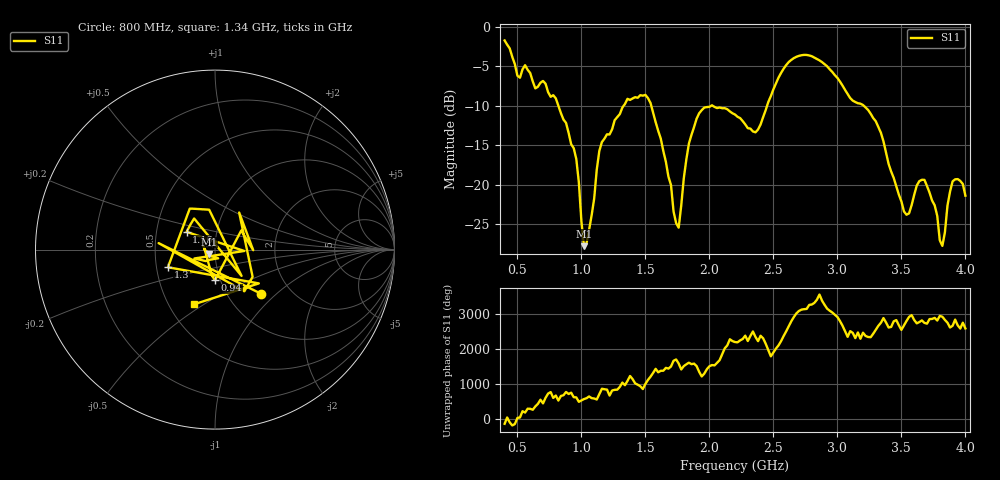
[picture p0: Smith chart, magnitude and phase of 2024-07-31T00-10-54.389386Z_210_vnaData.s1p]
!Created with skrf (http://scikit-rf.org).
# Hz S RI R 50.0
!freq ReS11 ImS11
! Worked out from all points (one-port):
!   181 points, 400 MHz to 4 GHz, reference 50 ohm
!   lowest |S11| = -27.8 dB at 1.02 GHz (marker M1), VSWR 1.08, Z = 46.8 - j2.23 ohm
!   |S11| at or under -10 dB: 820.1 MHz to 1.33 GHz (509.6 MHz wide, 47.4 % of centre); 1.546 GHz to 2.013 GHz (467 MHz wide, 26.2 % of centre); 3.207 GHz to end of sweep (the widest 3 of 4)
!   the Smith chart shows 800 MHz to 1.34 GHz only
!   S11 on the Smith chart (normalised r, x): 800 MHz: 1.42, -0.79; 940 MHz: 0.94, -0.33; 1.16 GHz: 0.71, +0.15; 1.3 GHz: 0.57, -0.12; 1.34 GHz: 0.67, -0.46
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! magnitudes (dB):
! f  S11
! 400 MHz  -1.7
! 500 MHz  -6.2
! 560 MHz  -4.8
! 800 MHz  -9.0
! 860 MHz  -11.7
! 940 MHz  -15.4
! 980 MHz  -19.7
! 1.02 GHz  -27.8
! 1.08 GHz  -23.9
! 1.16 GHz  -14.6
! 1.3 GHz  -11.0
! 1.34 GHz  -9.8
! 1.54 GHz  -9.6
! 1.76 GHz  -25.5
! 1.84 GHz  -14.8
! 1.92 GHz  -10.9
! 2.2 GHz  -11.1
! 2.36 GHz  -13.4
! 2.66 GHz  -3.9
! 2.88 GHz  -4.5
! 3.1 GHz  -9.0
! 3.3 GHz  -12.0
! 3.56 GHz  -23.6
! 3.68 GHz  -19.4
! 3.76 GHz  -22.6
! 3.82 GHz  -27.8
! 3.9 GHz  -19.6
! 4 GHz  -21.4
